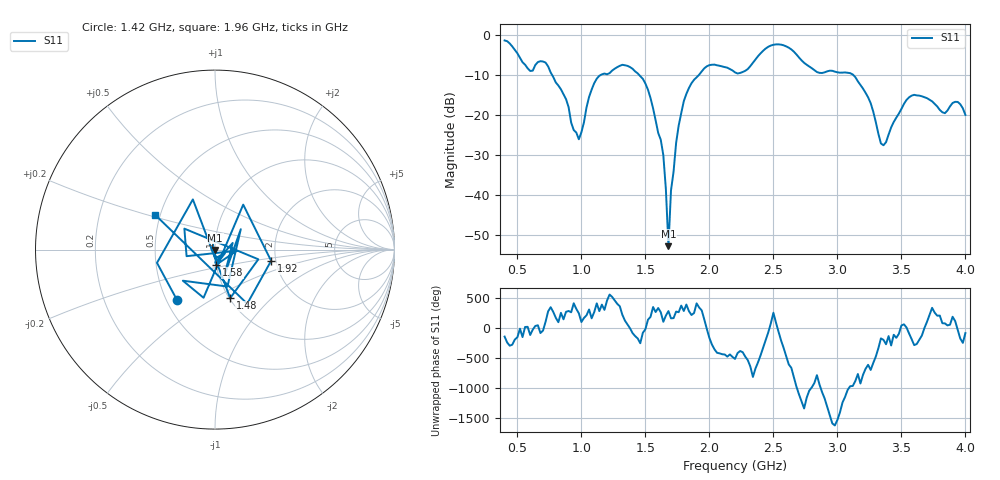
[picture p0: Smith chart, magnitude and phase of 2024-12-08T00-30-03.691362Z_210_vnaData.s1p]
!Created with skrf (http://scikit-rf.org).
# Hz S RI R 50.0
!freq ReS11 ImS11
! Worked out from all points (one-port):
!   181 points, 400 MHz to 4 GHz, reference 50 ohm
!   lowest |S11| = -52.9 dB at 1.68 GHz (marker M1), VSWR 1.00, Z = 50.1 - j0.213 ohm
!   |S11| at or under -10 dB: 771.3 MHz to 1.151 GHz (379.3 MHz wide, 39.5 % of centre); 1.452 GHz to 1.918 GHz (466.2 MHz wide, 27.7 % of centre); 3.124 GHz to end of sweep
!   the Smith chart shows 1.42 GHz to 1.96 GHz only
!   S11 on the Smith chart (normalised r, x): 1.42 GHz: 0.57, -0.36; 1.48 GHz: 1.01, -0.59; 1.58 GHz: 1.00, -0.17; 1.92 GHz: 1.89, -0.26; 1.96 GHz: 0.47, +0.21
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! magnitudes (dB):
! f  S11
! 400 MHz  -1.3
! 600 MHz  -9.0
! 720 MHz  -6.9
! 860 MHz  -14.8
! 980 MHz  -26.1
! 1.1 GHz  -12.0
! 1.3 GHz  -7.7
! 1.42 GHz  -9.1
! 1.48 GHz  -11.0
! 1.58 GHz  -21.4
! 1.64 GHz  -30.1
! 1.66 GHz  -38.7
! 1.68 GHz  -52.9
! 1.7 GHz  -38.9
! 1.76 GHz  -22.7
! 1.82 GHz  -14.7
! 1.92 GHz  -9.9
! 1.96 GHz  -8.3
! 2.2 GHz  -9.3
! 2.48 GHz  -2.6
! 2.66 GHz  -4.1
! 2.84 GHz  -9.2
! 3.1 GHz  -9.5
! 3.24 GHz  -15.6
! 3.36 GHz  -27.6
! 3.56 GHz  -15.6
! 3.94 GHz  -16.7
! 4 GHz  -20.0
